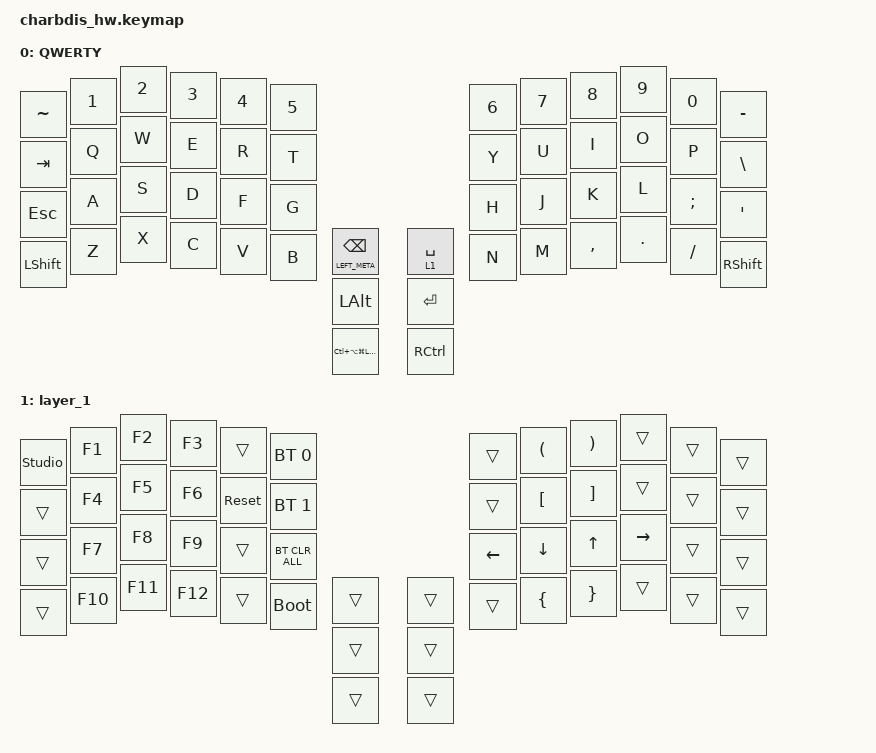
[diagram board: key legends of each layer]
#include <behaviors.dtsi>
#include <dt-bindings/zmk/bt.h>
#include <dt-bindings/zmk/keys.h>

/ {
    combos {
        compatible = "zmk,combos";

        backspacehold {
            bindings = <&kp BACKSPACE>;
            key-positions = <45 44>;
        };
    };

    keymap {
        compatible = "zmk,keymap";

        default_layer {
            display-name = "QWERTY";

            // ┌──────┬──────┬──────┬──────┬──────┬──────┐               ┌──────────┬──────┬──────┬──────┬──────┬──────┐
            // │ ESC  │  1   │  2   │  3   │  4   │  5   │               │  6       │  7   │  8   │  9   │  0   │  -   │
            // ├──────┼──────┼──────┼──────┼──────┼──────┼──────┬──────┤ ├──────────┼──────┼──────┼──────┼──────┼──────┼──────┤
            // │ TAB  │  Q   │  W   │  E   │  R   │  T   │ LCTL │ LGUI │ │  Y       │  U   │  I   │  O   │  P   │  \   │
            // ├──────┼──────┼──────┼──────┼──────┼──────┼──────┼──────┤ ├──────────┼──────┼──────┼──────┼──────┼──────┼──────┤
            // │ LSFT │  A   │  S   │  D   │  F   │  G   │ LALT │ SPC  │ │  H       │  J   │  K   │  L   │  ;   │  '   │
            // ├──────┼──────┼──────┼──────┼──────┼──────┼──────┼──────┤ ├──────────┼──────┼──────┼──────┼──────┼──────┼──────┤
            // │ LCTL │  Z   │  X   │  C   │  V   │  B   │CMD/BS│ RET  │ │  N       │  M   │  ,   │  .   │  /   │ LALT │
            // └──────┴──────┴──────┴──────┴──────┴──────┴──────┴──────┘ └──────────┴──────┴──────┴──────┴──────┴──────┘

            bindings = <
&kp TILDE  &kp N1  &kp N2  &kp N3  &kp N4  &kp N5  &kp N6  &kp N7  &kp N8  &kp N9  &kp N0  &kp MINUS  &kp TAB  &kp Q  &kp W  &kp E  &kp R  &kp T  &mt LEFT_META BACKSPACE  &lt 1 SPACE  &kp Y  &kp U  &kp I  &kp O  &kp P  &kp BSLH  &kp ESCAPE  &kp A  &kp S  &kp D  &kp F  &kp G  &kp LALT  &kp RET  &kp H  &kp J  &kp K  &kp L  &kp SEMI  &kp SQT  &kp LEFT_SHIFT  &kp Z  &kp X  &kp C  &kp V  &kp B  &kp LC(LA(LG(LSHFT)))  &kp RCTRL  &kp N  &kp M  &kp COMMA  &kp DOT  &kp FSLH  &kp RIGHT_SHIFT
            >;
        };

        layer_1 {
            bindings = <
&studio_unlock  &kp F1  &kp F2  &kp F3  &trans  &bt BT_SEL 0  &trans  &kp LPAR  &kp RPAR  &trans  &trans  &trans  &trans  &kp F4  &kp F5  &kp F6  &sys_reset  &bt BT_SEL 1  &trans  &trans  &trans  &kp LBKT  &kp RBKT  &trans  &trans  &trans  &trans  &kp F7  &kp F8  &kp F9  &trans  &bt BT_CLR_ALL  &trans  &trans  &kp LEFT_ARROW  &kp DOWN  &kp UP_ARROW  &kp RIGHT  &trans  &trans  &trans  &kp F10  &kp F11  &kp F12  &trans  &bootloader  &trans  &trans  &trans  &kp LBRC  &kp RBRC  &trans  &trans  &trans
            >;
        };
    };
};
